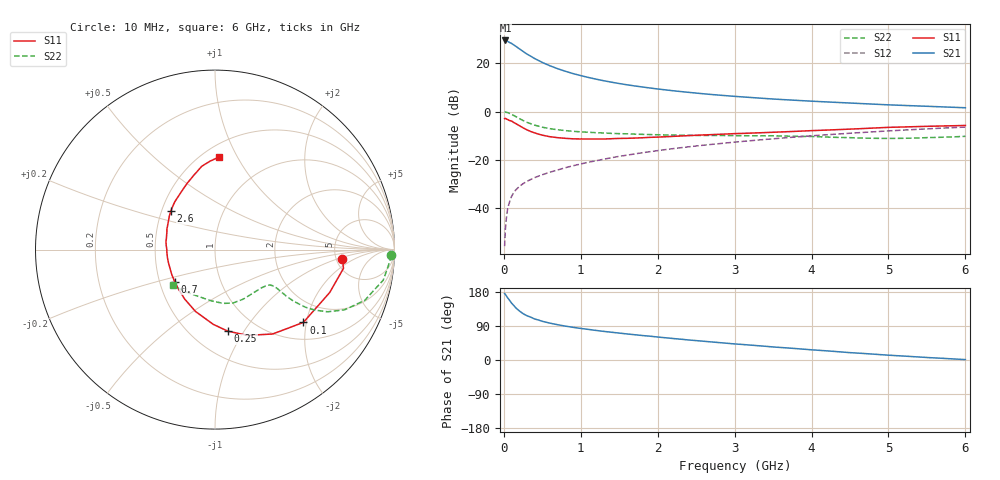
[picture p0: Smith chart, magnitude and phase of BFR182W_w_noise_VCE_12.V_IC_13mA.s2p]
! (c) 2017  Infineon Technologies AG, Munich
! Infineon Technologies  Discrete & RF Semiconductors
! BFR182W
! VCE =  12. V,  IC =  13 mA
! Common Emitter S-Parameters:  Jan 2017
# GHz  S  MA  R  50
!  f  S11  S21  S12  S22
! GHz  MAG  ANG  MAG  ANG  MAG  ANG  MAG  ANG
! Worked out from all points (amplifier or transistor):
!   77 points, 10 MHz to 6 GHz, reference 50 ohm
!   highest |S21| = 29.5 dB at 20 MHz (marker M1)
!   |S21| within 3 dB of that: start of sweep to 181.1 MHz
!   unconditionally stable (mu >= 1): 993.2 MHz to 2.582 GHz
!   at 130 MHz: K = 0.34, MSG = 30.7 dB, |S12| = -33.7 dB
!   at 2.2 GHz: K = 1.02, MAG = 11.1 dB, |S12| = -15.4 dB
!   at 6 GHz: K = 0.86, MSG = 4.0 dB, |S12| = -6.4 dB
!   lowest NFmin = 1.17 dB at 450 MHz
!   S11 on the Smith chart (normalised r, x): 10 MHz: 5.69, -1.14; 100 MHz: 1.40, -1.92; 250 MHz: 0.74, -0.85; 700 MHz: 0.60, -0.23; 2.6 GHz: 0.56, +0.27; 6 GHz: 0.60, +0.84
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0.01  0.7113 -4.0  29.94 175.5  0.0016 74.4  0.9838 -1.9
0.02  0.7234 -8.3  29.97 172.9  0.0036 94.5  0.9741 -4.3
0.05  0.6823 -20.5  28.65 163.9  0.0096 78.8  0.9527 -10.3
0.1  0.6379 -39.5  26.06 150.2  0.0172 70.8  0.8805 -18.8
0.15  0.5693 -55.7  23.05 138.7  0.0231 67.2  0.7948 -25.0
0.2  0.5108 -69.3  20.18 129.7  0.0277 64.3  0.7168 -28.9
0.25  0.4598 -81.1  17.76 122.3  0.0318 62.3  0.6513 -31.2
0.3  0.4167 -91.3  15.67 116.8  0.0355 61.6  0.5972 -32.5
0.4  0.361 -107.6  12.62 108.3  0.0424 62.2  0.5224 -33.3
0.5  0.3235 -121.4  10.46 102.1  0.0487 62.8  0.4736 -33.1
0.6  0.2999 -132.6  8.927 97.2  0.0551 63.7  0.4408 -32.6
0.7  0.2869 -141.7  7.756 93.1  0.0612 65.4  0.4185 -32.2
0.9  0.2715 -157.5  6.143 86.2  0.0749 66.4  0.3892 -31.9
1.1  0.2688 -170.4  5.105 80.7  0.0887 67.3  0.3716 -32.4
1.3  0.2689 179.0  4.362 75.5  0.1025 67.7  0.3587 -33.5
1.5  0.2767 170.9  3.82 71.0  0.1175 67.6  0.3476 -35.5
2.1  0.2996 150.9  2.822 58.7  0.162 65.7  0.327 -44.3
2.6  0.327 138.6  2.335 49.4  0.2004 63.0  0.3186 -53.9
3.1  0.352 128.1  2.016 41.0  0.2396 59.7  0.3154 -63.7
4.1  0.407 111.1  1.613 25.5  0.3214 52.0  0.2989 -83.5
5.1  0.4741 97.9  1.359 11.5  0.4042 42.9  0.2772 -112.4
6  0.5146 87.8  1.2 1.0  0.4763 34.1  0.3059 -139.3
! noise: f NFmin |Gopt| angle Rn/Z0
0.45  1.17  0.04  108  0.14
0.9  1.26  0.05  122  0.14
1.9  1.73  0.23  -151  0.14
2.4  2  0.22  -136  0.21
